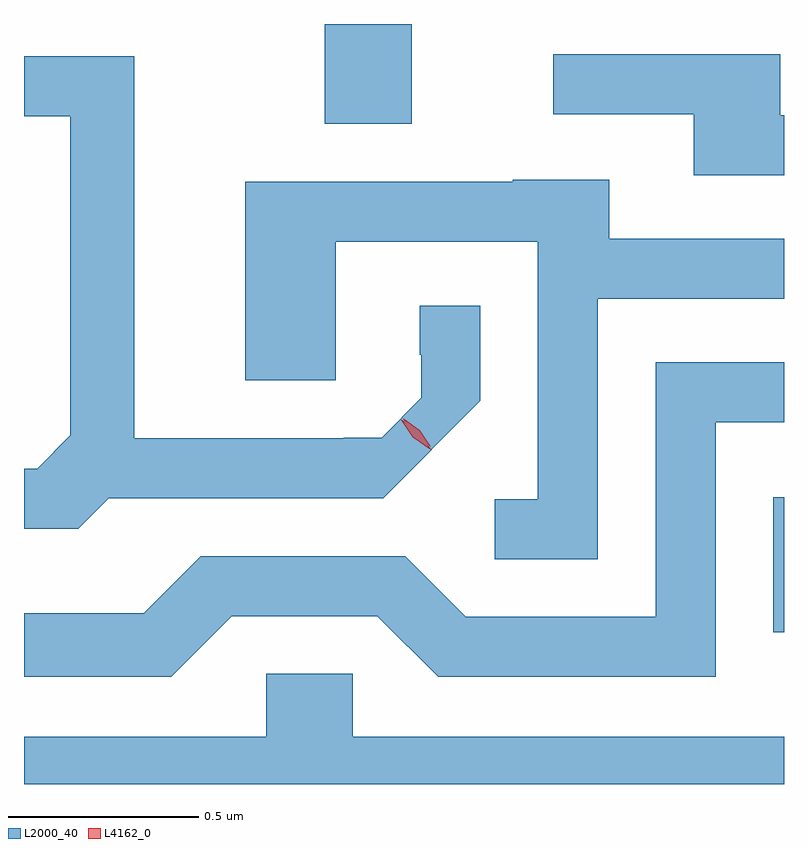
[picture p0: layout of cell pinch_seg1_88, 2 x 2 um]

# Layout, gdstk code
import gdstk
lib = gdstk.Library(unit=1e-6, precision=1e-09)
def R(c, l, rs):  # rectangles x0, y0, x1, y1
    for r in rs: c.add(gdstk.rectangle(r[:2], r[2:], *l))
def P(c, l, *ps):  # polygons
    for p in ps: c.add(gdstk.Polygon(p, *l))
L2000_40 = (2000, 40)
L4162_0 = (4162, 0)

pinch_seg1_88 = lib.new_cell('pinch_seg1_88')
R(pinch_seg1_88, L2000_40, [(1028.961,849.058,1028.989,849.414), (1027.781,850.396,1028.009,850.659)])
P(pinch_seg1_88, L2000_40, [(1028.989,850.419),(1028.979,850.419),(1028.979,850.579),(1028.382,850.579),(1028.382,850.421),(1028.751,850.421),(1028.751,850.261),(1028.989,850.261)],
  [(1027.212,849.411),(1027.934,849.411),(1028.189,849.667),(1028.189,849.918),(1028.031,849.918),(1028.031,849.788),(1028.035,849.788),(1028.035,849.676),(1027.93,849.57),(1027.83,849.57),(1027.83,849.569),(1027.279,849.569),(1027.279,850.574),(1026.989,850.574),(1026.989,850.416),(1027.111,850.416),(1027.111,849.577),(1027.024,849.489),(1026.989,849.489),(1026.989,849.331),(1027.132,849.331)],
  [(1028.499,849.936),(1028.989,849.936),(1028.989,850.094),(1028.529,850.094),(1028.529,850.249),(1028.275,850.249),(1028.275,850.244),(1027.571,850.244),(1027.571,849.721),(1027.809,849.721),(1027.809,850.086),(1028.341,850.086),(1028.341,849.409),(1028.228,849.409),(1028.228,849.251),(1028.499,849.251)],
  [(1027.536,849.101),(1027.919,849.101),(1028.079,848.941),(1028.809,848.941),(1028.809,849.611),(1028.989,849.611),(1028.989,849.769),(1028.651,849.769),(1028.651,849.099),(1028.152,849.099),(1027.992,849.259),(1027.454,849.259),(1027.304,849.109),(1026.989,849.109),(1026.989,848.941),(1027.377,848.941)],
  [(1028.989,848.784),(1027.854,848.784),(1027.854,848.949),(1027.626,848.949),(1027.626,848.784),(1026.989,848.784),(1026.989,848.659),(1028.989,848.659)])
P(pinch_seg1_88, L4162_0, [(1028.059,849.539),(1028.012,849.572),(1027.98,849.619),(1027.98,849.619),(1027.98,849.619),(1028.027,849.586),(1028.06,849.54),(1028.06,849.539)],
  [(1028.059,849.546),(1028.016,849.576),(1027.987,849.62),(1027.987,849.62),(1027.988,849.62),(1028.031,849.59),(1028.06,849.547),(1028.06,849.546)])

lib.write_gds('pinch_seg1_88.gds')
